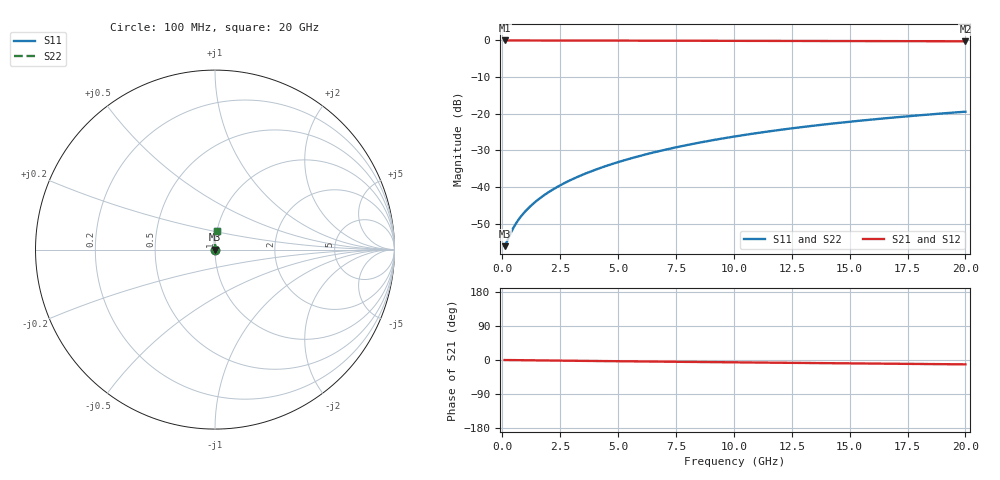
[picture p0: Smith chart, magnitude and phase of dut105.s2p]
! Touchstone file exported from HFSS 2024.1.0
!  File:  C:/UserFiles/LocalFiles/RDL_TSV_Batchsim/temp_RDL_bottom_105_1778695370.aedt
!  Generated:  02:05:11 AM May 14, 2026
!  Design:  RDL_bottom
!  Project:  temp_RDL_bottom_105_1778695370
!  Setup:  Setup1
!  Solution:  Sweep
! Variables:
!  dtsv = 10.80580581um
!  hbump = 3um
!  htsv = 82.45um
!  ldown = 156.34um
!  lrdl = 100um
!  p = 40
!  p1 = 40.81um
!  rhole = 1um
!  t = 450um
!  tdown = 2.08um
!  trdl = 3.915915916um
!  wdown = 26.16um
!  wrdl = 20um
# GHz S MA R 50.000000
! Terminal data exported
! Port[1] = RDL1_T1
! Port[2] = RDL1_T2
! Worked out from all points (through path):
!   200 points, 100 MHz to 20 GHz, reference 50 ohm
!   highest |S21| = -0.01 dB at 100 MHz (marker M1); lowest = -0.2 dB at 20 GHz (marker M2)
!   group delay of S21, straight-line fit = 1.58 ps
!   lowest |S11| = -56.2 dB at 100 MHz (marker M3), VSWR 1.00, Z = 50.1 + j0.0498 ohm
!   |S11| at or under -10 dB: start of sweep to end of sweep
!   |S22| runs from -56.2 to -19.5 dB; largest |S21 - S12| = 2.3e-15
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0.1  0.001558 18.6  0.9985 -0.1  0.9985 -0.1  0.001558 18.6
! Gamma 0 0 0 0
! Port Impedance 50 0 50 0
0.2  0.001803 32.9  0.9985 -0.1  0.9985 -0.1  0.001803 32.9
0.4  0.002485 49.4  0.9983 -0.3  0.9983 -0.3  0.002485 49.4
0.6  0.003214 57.9  0.9982 -0.4  0.9982 -0.4  0.003214 57.9
0.7  0.003578 60.9  0.9981 -0.5  0.9981 -0.5  0.003578 60.9
0.9  0.004304 65.7  0.998 -0.6  0.998 -0.6  0.004304 65.7
1.1  0.005038 69.4  0.9978 -0.7  0.9978 -0.7  0.005038 69.4
1.3  0.005783 72.3  0.9977 -0.9  0.9977 -0.9  0.005783 72.3
1.8  0.007707 77.8  0.9973 -1.2  0.9973 -1.2  0.007707 77.8
2.3  0.009713 81.5  0.9969 -1.5  0.9969 -1.5  0.009713 81.5
2.9  0.01222 84.6  0.9964 -1.9  0.9964 -1.9  0.01222 84.6
3.5  0.01484 86.9  0.9957 -2.3  0.9957 -2.3  0.01484 86.9
4.2  0.01803 88.8  0.9948 -2.7  0.9948 -2.7  0.01803 88.8
5  0.02184 90.4  0.9937 -3.2  0.9937 -3.2  0.02184 90.4
5.9  0.02632 91.5  0.9924 -3.8  0.9924 -3.8  0.02632 91.5
6.8  0.031 92.1  0.991 -4.3  0.991 -4.3  0.031 92.1
8.4  0.03968 92.4  0.9885 -5.3  0.9885 -5.3  0.03968 92.4
10.1  0.04926 92.0  0.986 -6.2  0.986 -6.2  0.04926 92.0
11.7  0.05847 91.2  0.9836 -7.1  0.9836 -7.1  0.05846 91.2
13.4  0.06835 90.1  0.9813 -8.0  0.9813 -8.0  0.06834 90.1
16.7  0.08754 87.8  0.977 -9.8  0.977 -9.8  0.08753 87.8
20  0.1065 85.3  0.9729 -11.5  0.9729 -11.5  0.1065 85.3
